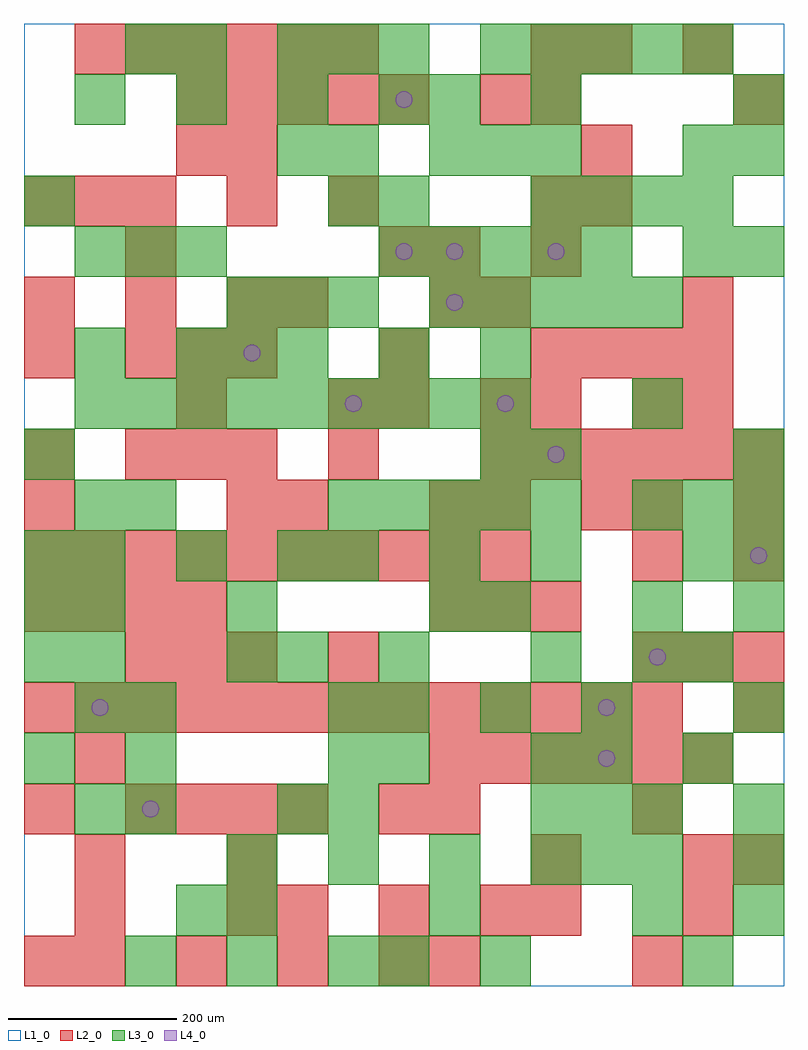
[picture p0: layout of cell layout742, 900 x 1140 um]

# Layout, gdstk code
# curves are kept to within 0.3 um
import gdstk
lib = gdstk.Library(unit=1e-6, precision=1e-09)
def R(c, l, rs):  # rectangles x0, y0, x1, y1
    for r in rs: c.add(gdstk.rectangle(r[:2], r[2:], *l))
def A(c, l, x, y, w, h, nx, ny, dx, dy):  # array of equal rectangles
    R(c, l, [(x+i*dx, y+j*dy, x+i*dx+w, y+j*dy+h) for i in range(nx) for j in range(ny)])
def P(c, l, *ps):  # polygons
    for p in ps: c.add(gdstk.Polygon(p, *l))
L1_0 = (1, 0)
L2_0 = (2, 0)
L3_0 = (3, 0)
L4_0 = (4, 0)

layout742 = lib.new_cell('layout742')
R(layout742, L1_0, [(0,0,900,1140)])
A(layout742, L2_0, 60, 0, 60, 60, 4, 1, 120, 0)
A(layout742, L2_0, 300, 60, 60, 60, 3, 1, 120, 0)
A(layout742, L2_0, 840, 120, 60, 60, 1, 3, 0, 180)
A(layout742, L2_0, 120, 180, 60, 60, 4, 1, 60, 0)
A(layout742, L2_0, 480, 240, 60, 60, 6, 1, 60, 0)
A(layout742, L2_0, 0, 300, 60, 60, 13, 1, 60, 0)
A(layout742, L2_0, 120, 360, 60, 60, 3, 2, 60, 240)
A(layout742, L2_0, 720, 360, 60, 60, 3, 1, 60, 0)
A(layout742, L2_0, 0, 420, 60, 60, 4, 1, 60, 0)
A(layout742, L2_0, 480, 420, 60, 60, 3, 1, 60, 0)
A(layout742, L2_0, 0, 480, 60, 60, 10, 1, 60, 0)
A(layout742, L2_0, 540, 540, 60, 60, 1, 3, 0, 120)
A(layout742, L2_0, 540, 600, 60, 60, 6, 1, 60, 0)
A(layout742, L2_0, 120, 720, 60, 60, 3, 1, 60, 0)
A(layout742, L2_0, 600, 720, 60, 60, 4, 1, 60, 0)
A(layout742, L2_0, 0, 780, 60, 60, 3, 1, 120, 0)
A(layout742, L2_0, 0, 900, 60, 60, 3, 1, 60, 0)
A(layout742, L2_0, 180, 1020, 60, 60, 5, 1, 60, 0)
A(layout742, L2_0, 60, 1080, 60, 60, 6, 1, 60, 0)
R(layout742, L2_0, [(0,0,60,60), (480,0,540,60), (720,0,780,60), (60,60,120,120), (240,60,300,120), (600,60,660,120), (780,60,840,120), (60,120,120,180), (240,120,300,180), (600,120,660,180), (780,120,840,180), (0,180,60,240), (420,180,480,240), (480,180,540,240), (720,180,780,240), (60,240,120,300), (360,360,420,420), (720,480,780,540), (0,540,60,600), (240,540,300,600), (300,540,360,600), (480,540,540,600), (660,540,720,600), (720,540,780,600), (840,540,900,600), (0,600,60,660), (360,600,420,660), (180,660,240,720), (360,660,420,720), (420,660,480,720), (600,660,660,720), (720,660,780,720), (780,660,840,720), (0,720,60,780), (420,720,480,780), (300,780,360,840), (480,780,540,840), (780,780,840,840), (120,840,180,900), (420,840,480,900), (480,840,540,900), (600,840,660,900), (240,900,300,960), (360,900,420,960), (600,900,660,960), (660,900,720,960), (180,960,240,1020), (240,960,300,1020), (660,960,720,1020), (540,1020,600,1080), (600,1020,660,1080), (840,1020,900,1080), (600,1080,660,1140), (660,1080,720,1140), (780,1080,840,1140)])
A(layout742, L3_0, 120, 0, 60, 60, 3, 1, 120, 0)
A(layout742, L3_0, 240, 60, 60, 60, 3, 1, 240, 0)
A(layout742, L3_0, 840, 60, 60, 60, 1, 3, 0, 60)
A(layout742, L3_0, 240, 120, 60, 60, 4, 1, 120, 0)
A(layout742, L3_0, 120, 180, 60, 60, 1, 3, 0, 60)
A(layout742, L3_0, 360, 180, 60, 60, 1, 3, 0, 60)
A(layout742, L3_0, 600, 180, 60, 60, 3, 1, 60, 0)
A(layout742, L3_0, 780, 240, 60, 60, 1, 3, 0, 120)
A(layout742, L3_0, 60, 300, 60, 60, 1, 3, 0, 60)
A(layout742, L3_0, 420, 300, 60, 60, 3, 1, 120, 0)
A(layout742, L3_0, 0, 360, 60, 60, 1, 3, 0, 60)
A(layout742, L3_0, 60, 480, 60, 60, 3, 1, 120, 0)
A(layout742, L3_0, 360, 480, 60, 60, 3, 1, 120, 0)
A(layout742, L3_0, 360, 540, 60, 60, 5, 1, 60, 0)
A(layout742, L3_0, 720, 540, 60, 60, 3, 1, 60, 0)
A(layout742, L3_0, 60, 660, 60, 60, 9, 1, 60, 0)
A(layout742, L3_0, 180, 720, 60, 60, 3, 1, 60, 0)
A(layout742, L3_0, 240, 780, 60, 60, 3, 1, 60, 0)
A(layout742, L3_0, 480, 780, 60, 60, 5, 1, 60, 0)
A(layout742, L3_0, 60, 840, 60, 60, 3, 1, 60, 0)
A(layout742, L3_0, 420, 840, 60, 60, 5, 1, 60, 0)
A(layout742, L3_0, 600, 900, 60, 60, 4, 1, 60, 0)
A(layout742, L3_0, 480, 960, 60, 60, 3, 1, 60, 0)
A(layout742, L3_0, 60, 1020, 60, 60, 4, 1, 120, 0)
A(layout742, L3_0, 300, 1080, 60, 60, 3, 1, 60, 0)
A(layout742, L3_0, 540, 1080, 60, 60, 5, 1, 60, 0)
R(layout742, L3_0, [(420,0,480,60), (540,0,600,60), (780,0,840,60), (180,60,240,120), (660,120,720,180), (720,120,780,180), (60,180,120,240), (300,180,360,240), (0,240,60,300), (420,240,480,300), (600,240,660,300), (660,240,720,300), (840,300,900,360), (240,360,300,420), (300,360,360,420), (420,360,480,420), (600,360,660,420), (720,360,780,420), (240,420,300,480), (480,420,540,480), (540,420,600,480), (720,420,780,480), (840,420,900,480), (840,480,900,540), (60,540,120,600), (120,540,180,600), (0,600,60,660), (540,600,600,660), (600,600,660,660), (840,600,900,660), (720,660,780,720), (60,720,120,780), (420,720,480,780), (540,720,600,780), (780,840,840,900), (840,840,900,900), (0,900,60,960), (360,900,420,960), (420,900,480,960), (300,960,360,1020), (360,960,420,1020), (780,960,840,1020), (840,960,900,1020), (480,1020,540,1080), (600,1020,660,1080), (840,1020,900,1080), (120,1080,180,1140), (180,1080,240,1140)])
P(layout742, L4_0, [(100,330),(99.239,333.827),(97.071,337.071),(93.827,339.239),(90,340),(86.173,339.239),(82.929,337.071),(80.761,333.827),(80,330),(80.761,326.173),(82.929,322.929),(86.173,320.761),(90,320),(93.827,320.761),(97.071,322.929),(99.239,326.173)],
  [(160,210),(159.239,213.827),(157.071,217.071),(153.827,219.239),(150,220),(146.173,219.239),(142.929,217.071),(140.761,213.827),(140,210),(140.761,206.173),(142.929,202.929),(146.173,200.761),(150,200),(153.827,200.761),(157.071,202.929),(159.239,206.173)],
  [(280,750),(279.239,753.827),(277.071,757.071),(273.827,759.239),(270,760),(266.173,759.239),(262.929,757.071),(260.761,753.827),(260,750),(260.761,746.173),(262.929,742.929),(266.173,740.761),(270,740),(273.827,740.761),(277.071,742.929),(279.239,746.173)],
  [(400,690),(399.239,693.827),(397.071,697.071),(393.827,699.239),(390,700),(386.173,699.239),(382.929,697.071),(380.761,693.827),(380,690),(380.761,686.173),(382.929,682.929),(386.173,680.761),(390,680),(393.827,680.761),(397.071,682.929),(399.239,686.173)],
  [(460,870),(459.239,873.827),(457.071,877.071),(453.827,879.239),(450,880),(446.173,879.239),(442.929,877.071),(440.761,873.827),(440,870),(440.761,866.173),(442.929,862.929),(446.173,860.761),(450,860),(453.827,860.761),(457.071,862.929),(459.239,866.173)],
  [(460,1050),(459.239,1053.827),(457.071,1057.071),(453.827,1059.239),(450,1060),(446.173,1059.239),(442.929,1057.071),(440.761,1053.827),(440,1050),(440.761,1046.173),(442.929,1042.929),(446.173,1040.761),(450,1040),(453.827,1040.761),(457.071,1042.929),(459.239,1046.173)],
  [(520,810),(519.239,813.827),(517.071,817.071),(513.827,819.239),(510,820),(506.173,819.239),(502.929,817.071),(500.761,813.827),(500,810),(500.761,806.173),(502.929,802.929),(506.173,800.761),(510,800),(513.827,800.761),(517.071,802.929),(519.239,806.173)],
  [(520,870),(519.239,873.827),(517.071,877.071),(513.827,879.239),(510,880),(506.173,879.239),(502.929,877.071),(500.761,873.827),(500,870),(500.761,866.173),(502.929,862.929),(506.173,860.761),(510,860),(513.827,860.761),(517.071,862.929),(519.239,866.173)],
  [(580,690),(579.239,693.827),(577.071,697.071),(573.827,699.239),(570,700),(566.173,699.239),(562.929,697.071),(560.761,693.827),(560,690),(560.761,686.173),(562.929,682.929),(566.173,680.761),(570,680),(573.827,680.761),(577.071,682.929),(579.239,686.173)],
  [(640,630),(639.239,633.827),(637.071,637.071),(633.827,639.239),(630,640),(626.173,639.239),(622.929,637.071),(620.761,633.827),(620,630),(620.761,626.173),(622.929,622.929),(626.173,620.761),(630,620),(633.827,620.761),(637.071,622.929),(639.239,626.173)],
  [(640,870),(639.239,873.827),(637.071,877.071),(633.827,879.239),(630,880),(626.173,879.239),(622.929,877.071),(620.761,873.827),(620,870),(620.761,866.173),(622.929,862.929),(626.173,860.761),(630,860),(633.827,860.761),(637.071,862.929),(639.239,866.173)],
  [(700,270),(699.239,273.827),(697.071,277.071),(693.827,279.239),(690,280),(686.173,279.239),(682.929,277.071),(680.761,273.827),(680,270),(680.761,266.173),(682.929,262.929),(686.173,260.761),(690,260),(693.827,260.761),(697.071,262.929),(699.239,266.173)],
  [(700,330),(699.239,333.827),(697.071,337.071),(693.827,339.239),(690,340),(686.173,339.239),(682.929,337.071),(680.761,333.827),(680,330),(680.761,326.173),(682.929,322.929),(686.173,320.761),(690,320),(693.827,320.761),(697.071,322.929),(699.239,326.173)],
  [(760,390),(759.239,393.827),(757.071,397.071),(753.827,399.239),(750,400),(746.173,399.239),(742.929,397.071),(740.761,393.827),(740,390),(740.761,386.173),(742.929,382.929),(746.173,380.761),(750,380),(753.827,380.761),(757.071,382.929),(759.239,386.173)],
  [(880,510),(879.239,513.827),(877.071,517.071),(873.827,519.239),(870,520),(866.173,519.239),(862.929,517.071),(860.761,513.827),(860,510),(860.761,506.173),(862.929,502.929),(866.173,500.761),(870,500),(873.827,500.761),(877.071,502.929),(879.239,506.173)])

lib.write_gds('layout742.gds')
